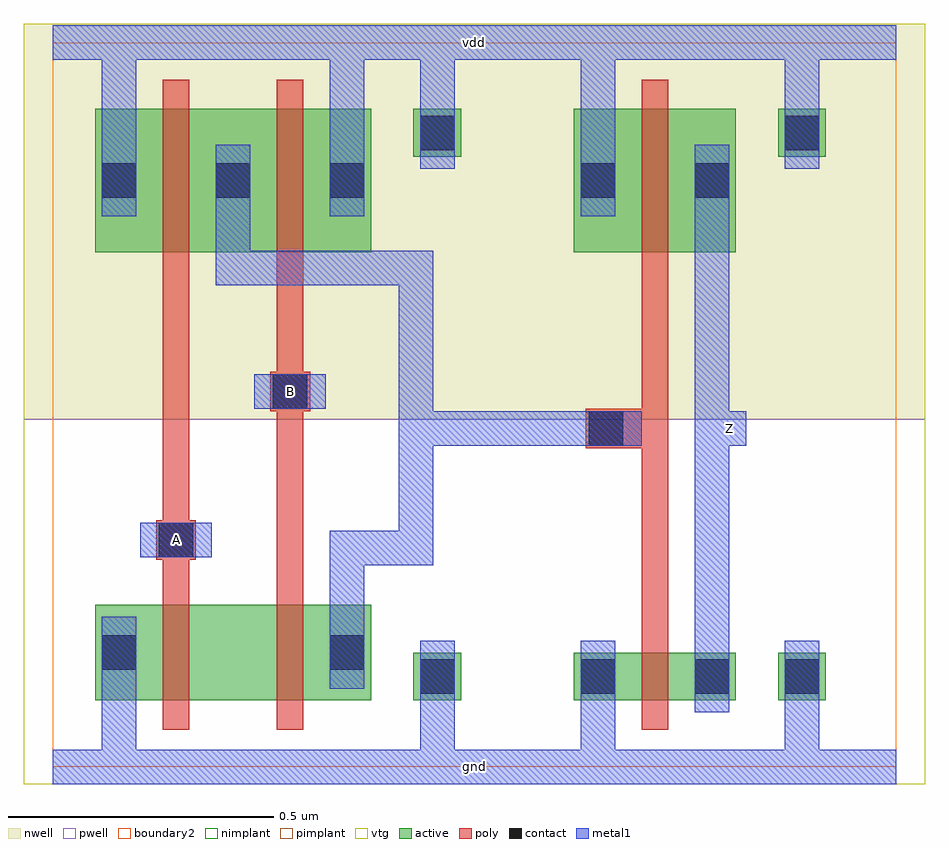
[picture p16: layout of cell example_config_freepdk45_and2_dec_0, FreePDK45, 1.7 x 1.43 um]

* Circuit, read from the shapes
.subckt example_config_freepdk45_and2_dec_0 A B Z gnd vdd
M1 example_config_freepdk45_pnand2_0/example_config_freepdk45_nmos_m1_w0_180_sm1_dactive_2/D A gnd gnd nfet w=0.18u l=0.05u
M2 example_config_freepdk45_pinv_1/A B example_config_freepdk45_pnand2_0/example_config_freepdk45_nmos_m1_w0_180_sm1_dactive_2/D gnd nfet w=0.18u l=0.05u
M3 Z example_config_freepdk45_pinv_1/A gnd gnd nfet w=0.09u l=0.05u
M4 example_config_freepdk45_pinv_1/A A vdd vdd pfet w=0.27u l=0.05u
M5 vdd B example_config_freepdk45_pinv_1/A vdd pfet w=0.27u l=0.05u
M6 Z example_config_freepdk45_pinv_1/A vdd vdd pfet w=0.27u l=0.05u
.ends

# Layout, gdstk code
import gdstk
lib = gdstk.Library(unit=1e-6, precision=5e-10)
def R(c, l, rs):  # rectangles x0, y0, x1, y1
    for r in rs: c.add(gdstk.rectangle(r[:2], r[2:], *l))
active = (1, 0)
pwell = (2, 0)
nwell = (3, 0)
nimplant = (4, 0)
pimplant = (5, 0)
vtg = (6, 0)
poly = (9, 0)
contact = (10, 0)
metal1 = (11, 0)
boundary2 = (239, 0)

example_config_freepdk45 = lib.new_cell('example_config_freepdk45_contact_11')
R(example_config_freepdk45, active, [(0,0.0225,0.09,0.1125)])
R(example_config_freepdk45, nwell, [(-0.055,-0.0325,0.145,0.1675)])
R(example_config_freepdk45, pimplant, [(0,0.0225,0.09,0.1125)])
R(example_config_freepdk45, contact, [(0.0125,0.035,0.0775,0.1)])
R(example_config_freepdk45, metal1, [(0.0125,0,0.0775,0.135)])
R(example_config_freepdk45, boundary2, [(-0.055,-0.0325,0.145,0.1675)])

c_example_config_freepdk45 = lib.new_cell('example_config_freepdk45_pmos_m1_w0_270_sm1_dm1')
R(c_example_config_freepdk45, active, [(0,0,0.305,0.27)])
R(c_example_config_freepdk45, nwell, [(-0.08,-0.08,0.385,0.35)])
R(c_example_config_freepdk45, pimplant, [(0,0,0.305,0.27)])
R(c_example_config_freepdk45, vtg, [(-0.08,-0.08,0.385,0.35)])
R(c_example_config_freepdk45, poly, [(0.1275,-0.055,0.1775,0.325), (0.1275,-0.055,0.1775,0.325)])
R(c_example_config_freepdk45, metal1, [(0.0125,0.0675,0.0775,0.2025), (0.2275,0.0675,0.2925,0.2025)])
R(c_example_config_freepdk45, boundary2, [(-0.08,-0.08,0.385,0.35)])
c_example_config_freepdk45.add(gdstk.Reference(example_config_freepdk45, (0,0.0675)))
c_example_config_freepdk45.add(gdstk.Reference(example_config_freepdk45, (0.215,0.0675)))
c_example_config_freepdk45.add(gdstk.Label('G', (0.1525,0.135), layer=9, texttype=0))
c_example_config_freepdk45.add(gdstk.Label('S', (0.045,0.135), layer=11, texttype=0))
c_example_config_freepdk45.add(gdstk.Label('D', (0.26,0.135), layer=11, texttype=0))

c_example_config_freepdk45_ = lib.new_cell('example_config_freepdk45_contact_10')
R(c_example_config_freepdk45_, active, [(0,0.0225,0.09,0.1125)])
R(c_example_config_freepdk45_, pwell, [(-0.055,-0.0325,0.145,0.1675)])
R(c_example_config_freepdk45_, nimplant, [(0,0.0225,0.09,0.1125)])
R(c_example_config_freepdk45_, contact, [(0.0125,0.035,0.0775,0.1)])
R(c_example_config_freepdk45_, metal1, [(0.0125,0,0.0775,0.135)])
R(c_example_config_freepdk45_, boundary2, [(-0.055,-0.0325,0.145,0.1675)])

c_example_config_freepdk45__ = lib.new_cell('example_config_freepdk45_nmos_m1_w0_180_sm1_dactive')
R(c_example_config_freepdk45__, active, [(0,0,0.305,0.18), (0.215,0.045,0.305,0.135)])
R(c_example_config_freepdk45__, pwell, [(-0.08,-0.08,0.385,0.26)])
R(c_example_config_freepdk45__, nimplant, [(0,0,0.305,0.18)])
R(c_example_config_freepdk45__, vtg, [(-0.08,-0.08,0.385,0.26)])
R(c_example_config_freepdk45__, poly, [(0.1275,-0.055,0.1775,0.235), (0.1275,-0.055,0.1775,0.235)])
R(c_example_config_freepdk45__, metal1, [(0.0125,0.0225,0.0775,0.1575)])
R(c_example_config_freepdk45__, boundary2, [(-0.08,-0.08,0.385,0.26)])
c_example_config_freepdk45__.add(gdstk.Reference(c_example_config_freepdk45_, (0,0.0225)))
c_example_config_freepdk45__.add(gdstk.Label('G', (0.1525,0.09), layer=9, texttype=0))
c_example_config_freepdk45__.add(gdstk.Label('S', (0.045,0.09), layer=11, texttype=0))
c_example_config_freepdk45__.add(gdstk.Label('D', (0.26,0.09), layer=1, texttype=0))

c_example_config_freepdk45___ = lib.new_cell('example_config_freepdk45_nmos_m1_w0_180_sactive_dm1')
R(c_example_config_freepdk45___, active, [(0,0,0.305,0.18), (0,0.045,0.09,0.135)])
R(c_example_config_freepdk45___, pwell, [(-0.08,-0.08,0.385,0.26)])
R(c_example_config_freepdk45___, nimplant, [(0,0,0.305,0.18)])
R(c_example_config_freepdk45___, vtg, [(-0.08,-0.08,0.385,0.26)])
R(c_example_config_freepdk45___, poly, [(0.1275,-0.055,0.1775,0.235), (0.1275,-0.055,0.1775,0.235)])
R(c_example_config_freepdk45___, metal1, [(0.2275,0.0225,0.2925,0.1575)])
R(c_example_config_freepdk45___, boundary2, [(-0.08,-0.08,0.385,0.26)])
c_example_config_freepdk45___.add(gdstk.Reference(c_example_config_freepdk45_, (0.215,0.0225)))
c_example_config_freepdk45___.add(gdstk.Label('G', (0.1525,0.09), layer=9, texttype=0))
c_example_config_freepdk45___.add(gdstk.Label('S', (0.045,0.09), layer=1, texttype=0))
c_example_config_freepdk45___.add(gdstk.Label('D', (0.26,0.09), layer=11, texttype=0))

c_example_config_freepdk45____ = lib.new_cell('example_config_freepdk45_contact_12')
R(c_example_config_freepdk45____, active, [(0,0.0225,0.09,0.1125)])
R(c_example_config_freepdk45____, nwell, [(-0.055,-0.0325,0.145,0.1675)])
R(c_example_config_freepdk45____, nimplant, [(0,0.0225,0.09,0.1125)])
R(c_example_config_freepdk45____, contact, [(0.0125,0.035,0.0775,0.1)])
R(c_example_config_freepdk45____, metal1, [(0.0125,0,0.0775,0.135)])
R(c_example_config_freepdk45____, boundary2, [(-0.055,-0.0325,0.145,0.1675)])

c_example_config_freepdk45_____ = lib.new_cell('example_config_freepdk45_contact_13')
R(c_example_config_freepdk45_____, active, [(0,0.0225,0.09,0.1125)])
R(c_example_config_freepdk45_____, pwell, [(-0.055,-0.0325,0.145,0.1675)])
R(c_example_config_freepdk45_____, pimplant, [(0,0.0225,0.09,0.1125)])
R(c_example_config_freepdk45_____, contact, [(0.0125,0.035,0.0775,0.1)])
R(c_example_config_freepdk45_____, metal1, [(0.0125,0,0.0775,0.135)])
R(c_example_config_freepdk45_____, boundary2, [(-0.055,-0.0325,0.145,0.1675)])

c_example_config_freepdk45______ = lib.new_cell('example_config_freepdk45_contact_14')
R(c_example_config_freepdk45______, poly, [(0.03,0,0.105,0.075)])
R(c_example_config_freepdk45______, contact, [(0.035,0.005,0.1,0.07)])
R(c_example_config_freepdk45______, metal1, [(0,0.005,0.135,0.07)])
R(c_example_config_freepdk45______, boundary2, [(0,0,0.135,0.075)])

c_example_config_freepdk45_______ = lib.new_cell('example_config_freepdk45_pnand2')
R(c_example_config_freepdk45_______, pwell, [(-0.055,-0.0325,0.9575,0.655)])
R(c_example_config_freepdk45_______, nwell, [(-0.055,0.655,0.9575,1.4)])
R(c_example_config_freepdk45_______, vtg, [(-0.055,-0.0325,0.9575,0.655), (-0.055,0.655,0.9575,1.4)])
R(c_example_config_freepdk45_______, poly, [(0.2075,0.36,0.2575,0.915), (0.4225,0.36,0.4725,0.915), (0.2075,0.39,0.2325,0.465), (0.4225,0.67,0.4475,0.745)])
R(c_example_config_freepdk45_______, metal1, [(0,-0.0325,0.9025,0.0325), (0.0925,-0.0325,0.1575,0.1475), (0.6925,0,0.7575,0.17), (0.5225,0.2825,0.5875,0.4125), (0.5225,0.38,0.5875,0.445), (0.555,0.38,0.685,0.445), (0.6525,0.38,0.7175,0.445), (0.165,0.395,0.3,0.46), (0.6525,0.4125,0.7175,0.94), (0.38,0.675,0.515,0.74), (0.3075,0.9075,0.3725,0.9725), (0.34,0.9075,0.685,0.9725), (0.6525,0.9075,0.7175,0.9725), (0.3075,0.94,0.3725,1.0375), (0.0925,1.0375,0.1575,1.3975), (0.5225,1.0375,0.5875,1.3975), (0.6925,1.195,0.7575,1.365), (0,1.3325,0.9025,1.3975)])
R(c_example_config_freepdk45_______, boundary2, [(0,0,0.9025,1.365), (0,0,0.9025,1.365)])
c_example_config_freepdk45_______.add(gdstk.Reference(c_example_config_freepdk45, (0.08,0.97)))
c_example_config_freepdk45_______.add(gdstk.Reference(c_example_config_freepdk45, (0.295,0.97)))
c_example_config_freepdk45_______.add(gdstk.Reference(c_example_config_freepdk45__, (0.08,0.125)))
c_example_config_freepdk45_______.add(gdstk.Reference(c_example_config_freepdk45___, (0.295,0.125)))
c_example_config_freepdk45_______.add(gdstk.Reference(c_example_config_freepdk45____, (0.68,1.1275)))
c_example_config_freepdk45_______.add(gdstk.Reference(c_example_config_freepdk45_____, (0.68,0.1025)))
c_example_config_freepdk45_______.add(gdstk.Reference(c_example_config_freepdk45______, (0.165,0.39)))
c_example_config_freepdk45_______.add(gdstk.Reference(c_example_config_freepdk45______, (0.38,0.67)))
c_example_config_freepdk45_______.add(gdstk.Label('Z', (0.685,0.94), layer=11, texttype=0))
c_example_config_freepdk45_______.add(gdstk.Label('gnd', (0.451,0), layer=11, texttype=0))
c_example_config_freepdk45_______.add(gdstk.Label('vdd', (0.451,1.365), layer=11, texttype=0))
c_example_config_freepdk45_______.add(gdstk.Label('A', (0.2325,0.4275), layer=11, texttype=0))
c_example_config_freepdk45_______.add(gdstk.Label('B', (0.4475,0.7075), layer=11, texttype=0))

c_example_config_freepdk45________ = lib.new_cell('example_config_freepdk45_pmos_m1_w0_270_sm1_dm1_da_p')
R(c_example_config_freepdk45________, active, [(0,0,0.305,0.27)])
R(c_example_config_freepdk45________, nwell, [(-0.08,-0.08,0.385,0.35)])
R(c_example_config_freepdk45________, pimplant, [(0,0,0.305,0.27)])
R(c_example_config_freepdk45________, vtg, [(-0.08,-0.08,0.385,0.35)])
R(c_example_config_freepdk45________, poly, [(0.1275,-0.055,0.1775,0.325), (0.1275,-0.055,0.1775,0.325)])
R(c_example_config_freepdk45________, metal1, [(0.0125,0.0675,0.0775,0.2025), (0.2275,0.0675,0.2925,0.2025)])
R(c_example_config_freepdk45________, boundary2, [(-0.08,-0.08,0.385,0.35)])
c_example_config_freepdk45________.add(gdstk.Reference(example_config_freepdk45, (0,0.0675)))
c_example_config_freepdk45________.add(gdstk.Reference(example_config_freepdk45, (0.215,0.0675)))
c_example_config_freepdk45________.add(gdstk.Label('G', (0.1525,0.135), layer=9, texttype=0))
c_example_config_freepdk45________.add(gdstk.Label('S', (0.045,0.135), layer=11, texttype=0))
c_example_config_freepdk45________.add(gdstk.Label('D', (0.26,0.135), layer=11, texttype=0))

c_example_config_freepdk45_________ = lib.new_cell('example_config_freepdk45_nmos_m1_w0_090_sm1_dm1_da_p')
R(c_example_config_freepdk45_________, active, [(0,0,0.305,0.09)])
R(c_example_config_freepdk45_________, pwell, [(-0.08,-0.08,0.385,0.17)])
R(c_example_config_freepdk45_________, nimplant, [(0,0,0.305,0.09)])
R(c_example_config_freepdk45_________, vtg, [(-0.08,-0.08,0.385,0.17)])
R(c_example_config_freepdk45_________, poly, [(0.1275,-0.055,0.1775,0.145), (0.1275,-0.055,0.1775,0.145)])
R(c_example_config_freepdk45_________, metal1, [(0.0125,-0.0225,0.0775,0.1125), (0.2275,-0.0225,0.2925,0.1125)])
R(c_example_config_freepdk45_________, boundary2, [(-0.08,-0.08,0.385,0.17)])
c_example_config_freepdk45_________.add(gdstk.Reference(c_example_config_freepdk45_, (0,-0.0225)))
c_example_config_freepdk45_________.add(gdstk.Reference(c_example_config_freepdk45_, (0.215,-0.0225)))
c_example_config_freepdk45_________.add(gdstk.Label('G', (0.1525,0.045), layer=9, texttype=0))
c_example_config_freepdk45_________.add(gdstk.Label('S', (0.045,0.045), layer=11, texttype=0))
c_example_config_freepdk45_________.add(gdstk.Label('D', (0.26,0.045), layer=11, texttype=0))

c_example_config_freepdk45__________ = lib.new_cell('example_config_freepdk45_pinv')
R(c_example_config_freepdk45__________, pwell, [(-0.055,-0.0325,0.7425,0.655)])
R(c_example_config_freepdk45__________, nwell, [(-0.055,0.655,0.7425,1.4)])
R(c_example_config_freepdk45__________, vtg, [(-0.055,-0.0325,0.7425,0.655), (-0.055,0.655,0.7425,1.4)])
R(c_example_config_freepdk45__________, poly, [(0.2075,0.27,0.2575,0.915), (0.14,0.6,0.2075,0.675)])
R(c_example_config_freepdk45__________, metal1, [(0,-0.0325,0.6875,0.0325), (0.0925,-0.0325,0.1575,0.1025), (0.4775,0,0.5425,0.17), (0.3075,0.1025,0.3725,1.1725), (0.0725,0.605,0.2075,0.67), (0.34,0.605,0.405,0.67), (0.0925,1.0375,0.1575,1.3975), (0.4775,1.195,0.5425,1.365), (0,1.3325,0.6875,1.3975)])
R(c_example_config_freepdk45__________, boundary2, [(0,0,0.6875,1.365), (0,0,0.6875,1.365)])
c_example_config_freepdk45__________.add(gdstk.Reference(c_example_config_freepdk45________, (0.08,0.97)))
c_example_config_freepdk45__________.add(gdstk.Reference(c_example_config_freepdk45_________, (0.08,0.125)))
c_example_config_freepdk45__________.add(gdstk.Reference(c_example_config_freepdk45____, (0.465,1.1275)))
c_example_config_freepdk45__________.add(gdstk.Reference(c_example_config_freepdk45_____, (0.465,0.1025)))
c_example_config_freepdk45__________.add(gdstk.Reference(c_example_config_freepdk45______, (0.0725,0.6)))
c_example_config_freepdk45__________.add(gdstk.Label('A', (0.14,0.6375), layer=11, texttype=0))
c_example_config_freepdk45__________.add(gdstk.Label('Z', (0.3725,0.6375), layer=11, texttype=0))
c_example_config_freepdk45__________.add(gdstk.Label('gnd', (0.344,0), layer=11, texttype=0))
c_example_config_freepdk45__________.add(gdstk.Label('vdd', (0.344,1.365), layer=11, texttype=0))

c_example_config_freepdk45___________ = lib.new_cell('example_config_freepdk45_and2_dec_0')
R(c_example_config_freepdk45___________, metal1, [(0,-0.0325,1.59,0.0325), (0.165,0.395,0.3,0.46), (0.6525,0.605,0.7175,0.67), (0.685,0.605,1.0425,0.67), (1.2425,0.605,1.3075,0.67), (0.6525,0.6375,0.7175,0.94), (0.38,0.675,0.515,0.74), (0,1.3325,1.59,1.3975)])
R(c_example_config_freepdk45___________, boundary2, [(0,0,1.59,1.365)])
c_example_config_freepdk45___________.add(gdstk.Reference(c_example_config_freepdk45_______, (0,0)))
c_example_config_freepdk45___________.add(gdstk.Reference(c_example_config_freepdk45__________, (0.9025,0)))
c_example_config_freepdk45___________.add(gdstk.Label('Z', (1.275,0.6375), layer=11, texttype=0))
c_example_config_freepdk45___________.add(gdstk.Label('A', (0.2325,0.4275), layer=11, texttype=0))
c_example_config_freepdk45___________.add(gdstk.Label('B', (0.4475,0.7075), layer=11, texttype=0))
c_example_config_freepdk45___________.add(gdstk.Label('gnd', (0.795,0), layer=11, texttype=0))
c_example_config_freepdk45___________.add(gdstk.Label('vdd', (0.795,1.365), layer=11, texttype=0))

lib.write_gds('example_config_freepdk45_and2_dec_0.gds')
